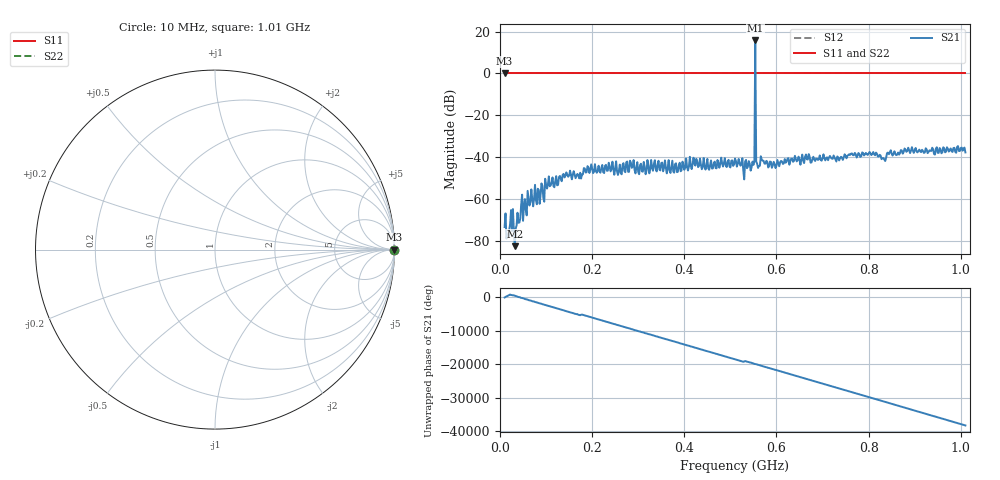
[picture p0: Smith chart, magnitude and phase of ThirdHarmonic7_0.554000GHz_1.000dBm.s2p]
! 8/17/2025 4:50:55 PM
! C:\ANRITSUVNA\TEMP\TEMP.S2P
! CHANNEL.1
! TR.MEASUREMENT
! RAW.DATA
! RF.CORRECTION.OFF
! AVERAGING.OFF
! IF.BANDWIDTH: 5KHZ
! SWEEPTYPE:  FREQ.SWEEP(Linear)
! Reference Plane Port Info
! PORT:  PORT1  PORT2
! DISTANCE:  0  m  0  m
! TIME:  0  s  0  s
! PHASE.OFFSET:  0  deg.  0  deg.
! LOSS:  0  dB  0  dB
! REF.LOSS:  0  dB  0  dB
! REF.FREQ:  0  Hz  0  Hz
! Power Info
! POWER:  -20  dBm  -20  dBm
! EFF.POWER:  -20  dBm  -20  dBm
! SOURCE.ATTEN:  0  dB  0  dB
! TEST.ATTEN:  0  dB  0  dB
# GHZ S RI R 50.0
! FREQ.GHZ  S11RE  S11IM  S21RE  S21IM  S12RE  S12IM  S22RE  S22IM
!; PortSelection: Port_12
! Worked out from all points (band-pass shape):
!   501 points, 10 MHz to 1.01 GHz, reference 50 ohm
!   highest |S21| = 15.75 dB at 554 MHz (marker M1); lowest = -82.6 dB at 32 MHz (marker M2)
!   |S21| within 3 dB of the highest: 553.8965 MHz to 554.1036 MHz (207.1 kHz wide, 0.0374 % of centre)
!   lowest |S11| = 0.0 dB at 10 MHz (marker M3)
!   |S11| at or under -10 dB: nowhere
!   |S22| runs from 0.0 to 0.0 dB; largest |S21 - S12| = 6.8
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0.01  1 0  -6.24e-05 -0.000203  1 0  1 0
0.018  1 0  -6.07e-05 0.000108  1 0  1 0
0.024  1 0  3.25e-05 -0.000538  1 0  1 0
0.032  1 0  3.72e-05 6.41e-05  1 0  1 0
0.05  1 0  0.000298 3.1e-05  1 0  1 0
0.054  1 0  -0.000858 0.000493  1 0  1 0
0.064  1 0  -0.000335 0.00061  1 0  1 0
0.082  1 0  -0.00122 0.00125  1 0  1 0
0.102  1 0  0.00159 0.000748  1 0  1 0
0.178  1 0  -0.00371 -0.00117  1 0  1 0
0.344  1 0  0.00792 -0.00196  1 0  1 0
0.51  1 0  -0.00861 -0.00331  1 0  1 0
0.548  1 0  -0.00419 0.00656  1 0  1 0
0.55  1 0  0.00583 0.00287  1 0  1 0
0.554  1 0  -3.661 -4.917  1 0  1 0
0.558  1 0  0.00209 0.00666  1 0  1 0
0.56  1 0  0.0055 0.000154  1 0  1 0
0.678  1 0  0.00593 -0.00681  1 0  1 0
0.806  1 0  -0.0101 -0.00481  1 0  1 0
0.832  1 0  -0.00414 -0.00853  1 0  1 0
0.844  1 0  -0.00826 0.00829  1 0  1 0
1.01  1 0  0.00392 -0.0123  1 0  1 0
